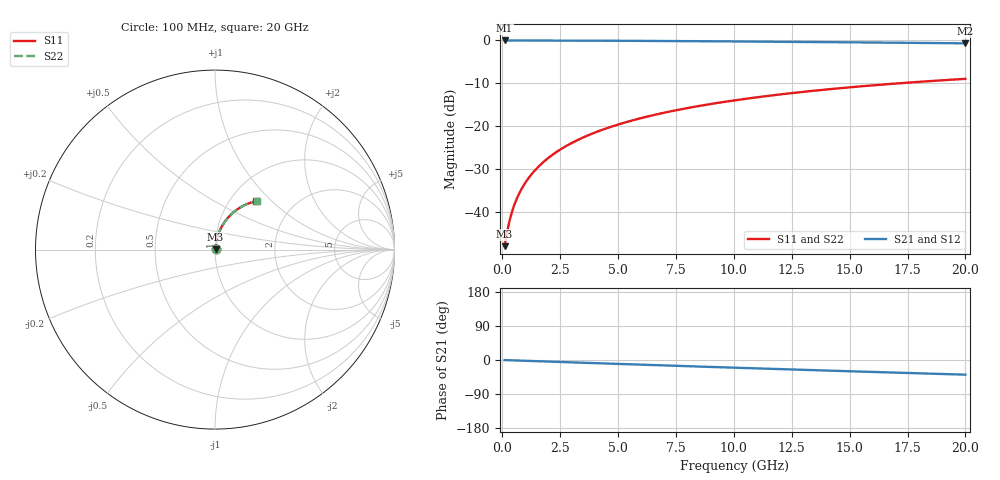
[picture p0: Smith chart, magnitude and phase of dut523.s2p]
! Touchstone file exported from HFSS 2026.1.0
!  File:  C:/ffzhzh/LocalFiles/Ansys_Project_Files/temp_train_BSMRDL_523_1783014610_46388.aedt
!  Generated:  01:51:27 AM Jul  3, 2026
!  Design:  BSMRDL
!  Project:  temp_train_BSMRDL_523_1783014610_46388
! Variables:
!  h_bsmrdl = 3.89um
!  h_ox = 20um
!  h_rdl = 5um
!  h_sub = 80um
!  h_tmrdl = 5um
!  h_tsv = 80um
!  h_via = 3um
!  l_bsmrdl = 570.11um
!  l_sub = 970.11um
!  l_tmrdl = 200um
!  m_sub = 200um
!  pitch = 39.18um
!  r_tsv = 6um
!  s_tmrdl = 10um
!  w_bsmrdl = 16.92um
!  w_sub = 500um
!  w_tmrdl = 12um
!  x_tsv_center1 = 206um
!  x_tsv_center2 = 793.03um
!  x_tsv_center3 = 1005.03um
!  x_tsv_center4 = 1592.06um
!  x_tsv_center5 = 1804.06um
!  x_tsv_center6 = 2391.09um
# GHz S MA R 50.000000
! Terminal data exported
! Port[1] = BSM_RDL1_1_T1
! Port[2] = BSM_RDL1_1_T2
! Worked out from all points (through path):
!   200 points, 100 MHz to 20 GHz, reference 50 ohm
!   highest |S21| = -0.03 dB at 100 MHz (marker M1); lowest = -0.7 dB at 20 GHz (marker M2)
!   group delay of S21, straight-line fit = 5.38 ps
!   lowest |S11| = -48.1 dB at 100 MHz (marker M3), VSWR 1.01, Z = 50.3 + j0.231 ohm
!   |S11| at or under -10 dB: start of sweep to 17.21 GHz
!   |S22| runs from -48.1 to -9.0 dB; largest |S21 - S12| = 2.1e-15
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0.1  0.003949 35.6  0.9968 -0.2  0.9968 -0.2  0.003949 35.6
! Gamma 0 0 0 0
! Port Impedance 50 0 50 0
0.2  0.005643 53.6  0.9967 -0.4  0.9967 -0.4  0.005643 53.6
0.3  0.007586 62.3  0.9965 -0.6  0.9965 -0.6  0.007586 62.3
0.4  0.009587 67.3  0.9964 -0.9  0.9964 -0.9  0.009588 67.3
0.5  0.01161 70.5  0.9963 -1.1  0.9963 -1.1  0.01161 70.5
0.6  0.01364 72.7  0.9962 -1.3  0.9962 -1.3  0.01364 72.7
0.8  0.01772 75.7  0.996 -1.7  0.996 -1.7  0.01772 75.7
1.1  0.0239 78.0  0.9957 -2.3  0.9957 -2.3  0.0239 78.0
1.3  0.02805 78.9  0.9956 -2.7  0.9956 -2.7  0.02805 78.9
1.6  0.03429 79.6  0.9952 -3.4  0.9952 -3.4  0.03429 79.6
2.1  0.04469 79.9  0.9946 -4.4  0.9946 -4.4  0.04469 79.9
2.7  0.05713 79.7  0.9937 -5.6  0.9937 -5.6  0.05713 79.6
3.5  0.0736 78.7  0.9922 -7.3  0.9922 -7.3  0.0736 78.7
4.2  0.08785 77.7  0.9906 -8.7  0.9906 -8.7  0.08785 77.6
5  0.1039 76.3  0.9885 -10.3  0.9885 -10.3  0.1039 76.3
5.9  0.1217 74.7  0.9859 -12.2  0.9859 -12.2  0.1217 74.7
6.8  0.1392 73.0  0.983 -14.0  0.983 -14.0  0.1392 73.0
8.3  0.1676 70.3  0.9777 -16.9  0.9777 -16.9  0.1676 70.3
10.1  0.2004 67.0  0.9706 -20.4  0.9706 -20.4  0.2004 66.9
13.4  0.257 61.0  0.956 -26.7  0.956 -26.7  0.257 60.9
16.7  0.3087 55.1  0.9398 -32.8  0.9398 -32.8  0.3087 55.1
20  0.3552 49.4  0.9229 -38.7  0.9229 -38.7  0.3552 49.4
